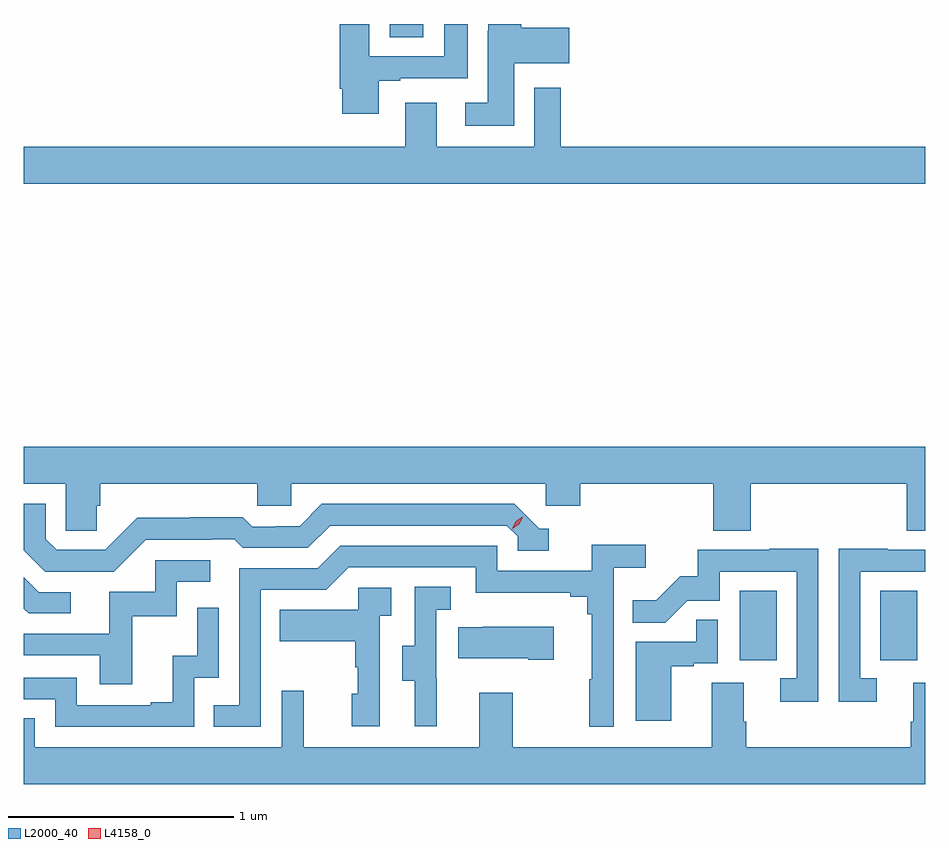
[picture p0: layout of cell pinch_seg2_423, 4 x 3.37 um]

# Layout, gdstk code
import gdstk
lib = gdstk.Library(unit=1e-6, precision=1e-09)
def R(c, l, rs):  # rectangles x0, y0, x1, y1
    for r in rs: c.add(gdstk.rectangle(r[:2], r[2:], *l))
def P(c, l, *ps):  # polygons
    for p in ps: c.add(gdstk.Polygon(p, *l))
L2000_40 = (2000, 40)
L4158_0 = (4158, 0)

pinch_seg2_423 = lib.new_cell('pinch_seg2_423')
R(pinch_seg2_423, L2000_40, [(953.018,604.23,953.182,604.537), (953.642,604.23,953.806,604.537), (951.464,606.994,951.613,607.053)])
P(pinch_seg2_423, L2000_40, [(952.018,606.878),(952.261,606.878),(952.261,607.036),(952.049,607.036),(952.049,607.053),(951.903,607.053),(951.903,607.022),(951.899,607.022),(951.899,606.703),(951.801,606.703),(951.801,606.602),(952.018,606.602)],
  [(951.415,606.801),(951.511,606.801),(951.511,606.813),(951.811,606.813),(951.811,607.053),(951.707,607.053),(951.707,606.909),(951.373,606.909),(951.373,607.053),(951.242,607.053),(951.242,606.766),(951.254,606.766),(951.254,606.654),(951.415,606.654)],
  [(953.841,606.508),(952.223,606.508),(952.223,606.769),(952.107,606.769),(952.107,606.508),(951.673,606.508),(951.673,606.703),(951.533,606.703),(951.533,606.508),(949.841,606.508),(949.841,606.344),(953.841,606.344)],
  [(949.841,605.012),(950.028,605.012),(950.028,604.804),(950.165,604.804),(950.165,604.914),(950.18,604.914),(950.18,605.012),(950.877,605.012),(950.877,604.914),(951.027,604.914),(951.027,605.012),(952.158,605.012),(952.158,604.914),(952.31,604.914),(952.31,605.012),(952.901,605.012),(952.901,604.804),(953.066,604.804),(953.066,605.012),(953.759,605.012),(953.759,604.804),(953.841,604.804),(953.841,605.176),(949.841,605.176)],
  [(950.382,604.764),(950.675,604.764),(950.675,604.767),(950.774,604.767),(950.813,604.728),(951.102,604.728),(951.201,604.827),(951.984,604.827),(952.032,604.779),(952.032,604.716),(952.171,604.716),(952.171,604.812),(952.128,604.812),(952.017,604.923),(951.164,604.923),(951.065,604.824),(950.958,604.824),(950.958,604.821),(950.855,604.821),(950.813,604.864),(950.58,604.864),(950.58,604.861),(950.344,604.861),(950.202,604.719),(949.986,604.719),(949.938,604.767),(949.938,604.923),(949.841,604.923),(949.841,604.717),(949.935,604.623),(950.241,604.623)],
  [(950.892,604.542),(951.183,604.542),(951.282,604.641),(951.846,604.641),(951.846,604.529),(952.265,604.529),(952.265,604.51),(952.342,604.51),(952.342,604.433),(952.361,604.433),(952.361,604.145),(952.35,604.145),(952.35,603.933),(952.458,603.933),(952.458,604.64),(952.6,604.64),(952.6,604.742),(952.361,604.742),(952.361,604.626),(951.942,604.626),(951.942,604.737),(951.245,604.737),(951.146,604.638),(950.796,604.638),(950.796,604.029),(950.683,604.029),(950.683,603.933),(950.892,603.933)],
  [(953.367,604.724),(953.149,604.724),(953.149,604.719),(952.831,604.719),(952.831,604.602),(952.754,604.602),(952.647,604.495),(952.543,604.495),(952.543,604.396),(952.687,604.396),(952.785,604.494),(952.929,604.494),(952.929,604.623),(953.271,604.623),(953.271,604.149),(953.199,604.149),(953.199,604.044),(953.367,604.044)],
  [(953.626,604.149),(953.553,604.149),(953.553,604.623),(953.841,604.623),(953.841,604.719),(953.675,604.719),(953.675,604.724),(953.457,604.724),(953.457,604.044),(953.626,604.044)],
  [(950.321,604.425),(950.52,604.425),(950.52,604.578),(950.668,604.578),(950.668,604.674),(950.424,604.674),(950.424,604.533),(950.219,604.533),(950.219,604.347),(949.841,604.347),(949.841,604.251),(950.177,604.251),(950.177,604.122),(950.321,604.122)],
  [(950.05,604.53),(949.908,604.53),(949.841,604.597),(949.841,604.458),(949.862,604.437),(950.05,604.437)],
  [(951.674,604.149),(951.672,604.149),(951.672,604.453),(951.736,604.453),(951.736,604.556),(951.576,604.556),(951.576,604.293),(951.521,604.293),(951.521,604.138),(951.575,604.138),(951.575,603.936),(951.674,603.936)],
  [(951.42,604.427),(951.472,604.427),(951.472,604.551),(951.324,604.551),(951.324,604.453),(950.977,604.453),(950.977,604.313),(951.312,604.313),(951.312,604.199),(951.322,604.199),(951.322,604.08),(951.296,604.08),(951.296,603.936),(951.42,603.936)],
  [(950.598,604.152),(950.706,604.152),(950.706,604.462),(950.61,604.462),(950.61,604.25),(950.501,604.25),(950.501,604.042),(950.405,604.042),(950.405,604.029),(950.076,604.029),(950.076,604.152),(949.841,604.152),(949.841,604.056),(949.98,604.056),(949.98,603.933),(950.598,603.933)],
  [(952.714,604.203),(952.814,604.203),(952.814,604.215),(952.92,604.215),(952.92,604.409),(952.825,604.409),(952.825,604.311),(952.556,604.311),(952.556,603.96),(952.714,603.96)],
  [(952.192,604.378),(951.877,604.378),(951.877,604.375),(951.769,604.375),(951.769,604.238),(952.079,604.238),(952.079,604.231),(952.192,604.231)],
  [(953.841,604.13),(953.789,604.13),(953.789,603.956),(953.777,603.956),(953.777,603.844),(953.048,603.844),(953.048,603.956),(953.035,603.956),(953.035,604.13),(952.895,604.13),(952.895,603.844),(952.011,603.844),(952.011,604.084),(951.863,604.084),(951.863,603.844),(951.083,603.844),(951.083,604.093),(950.985,604.093),(950.985,603.844),(949.89,603.844),(949.89,603.971),(949.841,603.971),(949.841,603.68),(953.841,603.68)])
P(pinch_seg2_423, L4158_0, [(952.008,604.813),(952.008,604.814),(952.024,604.846),(952.055,604.865),(952.055,604.865),(952.055,604.865),(952.039,604.832),(952.008,604.813)])

lib.write_gds('pinch_seg2_423.gds')
